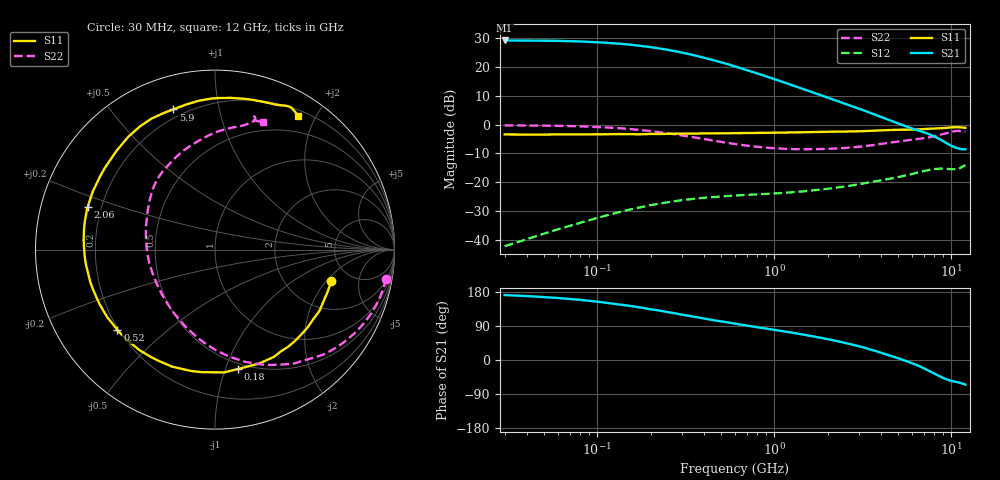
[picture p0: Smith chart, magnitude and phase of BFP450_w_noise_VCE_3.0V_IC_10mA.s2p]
! (c) 2015  Infineon Technologies AG, Munich
! Infineon Technologies  Discrete & RF Semiconductors
! BFP450
! VCE =  3.0 V,  IC =  10 mA
! Common Emitter S-Parameters:  Nov 2015
# GHz  S  MA  R  50
!  f  S11  S21  S12  S22
! GHz  MAG  ANG  MAG  ANG  MAG  ANG  MAG  ANG
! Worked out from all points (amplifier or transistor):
!   239 points, 30 MHz to 12 GHz, reference 50 ohm
!   highest |S21| = 29.2 dB at 30 MHz (marker M1)
!   |S21| within 3 dB of that: start of sweep to 236.6 MHz
!   unconditionally stable (mu >= 1): 2.084 GHz to end of sweep
!   at 300 MHz: K = 0.17, MSG = 25.6 dB, |S12| = -26.3 dB
!   at 1.88 GHz: K = 0.93, MSG = 16.2 dB, |S12| = -22.5 dB
!   at 12 GHz: K = 1.13, MAG = 0.5 dB, |S12| = -14.1 dB
!   lowest NFmin = 0.98 dB at 450 MHz
!   S11 on the Smith chart (normalised r, x): 30 MHz: 3.54, -2.26; 180 MHz: 0.45, -1.11; 520 MHz: 0.20, -0.35; 2.06 GHz: 0.15, +0.16; 5.9 GHz: 0.16, +0.73; 12 GHz: 0.28, +1.77
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0.03  0.6707 -15.2  28.84 171.4  0.0077 80.2  0.9679 -9.6
0.04  0.6703 -19.9  28.73 168.7  0.0102 79.3  0.9628 -12.7
0.055  0.6716 -27.9  28.5 164.8  0.0139 75.7  0.9531 -17.4
0.085  0.6736 -42.0  27.48 157.5  0.0207 70.4  0.924 -26.5
0.105  0.6766 -50.8  26.63 152.8  0.0248 66.5  0.8996 -32.3
0.125  0.6783 -59.1  25.71 148.4  0.0287 62.9  0.8735 -37.8
0.15  0.681 -68.9  24.59 143.1  0.0329 58.8  0.8396 -44.3
0.18  0.677 -79.0  23.03 137.8  0.0369 54.2  0.7936 -51.0
0.2  0.686 -85.7  22.12 133.8  0.0397 51.6  0.7695 -55.9
0.24  0.6869 -96.2  20.27 127.9  0.0437 46.9  0.7163 -63.8
0.3  0.6947 -110.2  17.8 119.6  0.0485 41.4  0.6481 -74.9
0.4  0.7005 -126.9  14.48 109.4  0.0534 34.8  0.5604 -89.5
0.52  0.7039 -140.6  11.65 100.7  0.0568 30.0  0.4902 -103.3
0.6  0.7086 -147.8  10.2 95.7  0.0584 27.8  0.4582 -111.4
0.9  0.718 -165.4  6.848 82.8  0.0624 24.1  0.3964 -133.8
1.2  0.7269 -176.9  5.069 73.5  0.0658 23.1  0.3762 -149.6
1.64  0.7388 170.8  3.636 62.8  0.0713 22.9  0.3725 -166.7
2.06  0.7481 161.3  2.844 54.0  0.0772 22.7  0.3787 -179.2
3  0.7639 143.7  1.885 36.2  0.0918 20.9  0.4107 158.7
4.5  0.8037 121.4  1.178 11.6  0.1139 13.8  0.4847 135.5
5.9  0.8148 106.6  0.867 -7.2  0.1365 5.8  0.5373 119.1
12  0.8759 58.1  0.372 -64.9  0.1974 -37.8  0.7588 69.4
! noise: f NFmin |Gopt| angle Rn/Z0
0.45  0.98  0.18  155  -0.03
0.9  1.02  0.29  158  0.08
1.9  1.18  0.48  -176  0.07
2.4  1.44  0.51  -163  0.06
